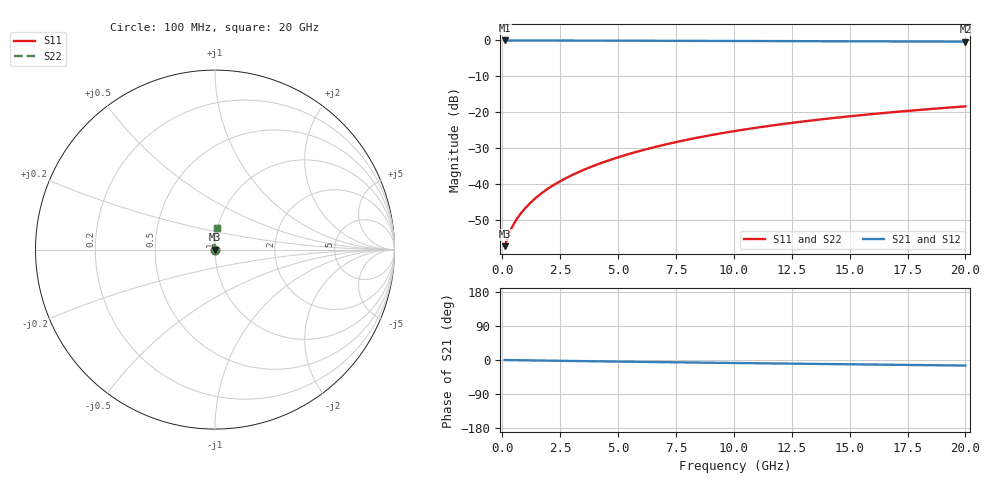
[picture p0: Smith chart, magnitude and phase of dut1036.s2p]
! Touchstone file exported from HFSS 2024.1.0
!  File:  C:/UserFiles/LocalFiles/RDL_TSV_Batchsim/temp_RDL_top_1036_1780043865.aedt
!  Generated:  04:40:12 PM May 29, 2026
!  Design:  RDL_top
!  Project:  temp_RDL_top_1036_1780043865
!  Setup:  Setup1
!  Solution:  Sweep
! Variables:
!  dtsv = 10.80580581um
!  hbump = 3um
!  htsv = 69.04um
!  ldown = 100um
!  lrdl = 218.17um
!  p = 40
!  p1 = 41.57um
!  rhole = 1um
!  t = 450um
!  tdown = 3.915915916um
!  trdl = 3.02um
!  wdown = 15.38538539um
!  wrdl = 27.32um
# GHz S MA R 50.000000
! Terminal data exported
! Port[1] = Box2_T1
! Port[2] = Box2_T2
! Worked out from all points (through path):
!   200 points, 100 MHz to 20 GHz, reference 50 ohm
!   highest |S21| = -0.01 dB at 100 MHz (marker M1); lowest = -0.3 dB at 20 GHz (marker M2)
!   group delay of S21, straight-line fit = 2 ps
!   lowest |S11| = -57.4 dB at 100 MHz (marker M3), VSWR 1.00, Z = 50.1 + j0.0543 ohm
!   |S11| at or under -10 dB: start of sweep to end of sweep
!   |S22| runs from -57.4 to -18.4 dB; largest |S21 - S12| = 6.1e-15
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0.1  0.001351 23.6  0.9988 -0.1  0.9988 -0.1  0.001351 23.6
! Gamma 0 0 0 0
! Port Impedance 50 0 50 0
0.3  0.002043 47.3  0.9986 -0.3  0.9986 -0.3  0.002043 47.3
0.4  0.00241 53.2  0.9985 -0.4  0.9985 -0.4  0.00241 53.2
0.5  0.002771 57.6  0.9984 -0.5  0.9984 -0.5  0.002771 57.6
0.6  0.003131 61.2  0.9983 -0.5  0.9983 -0.5  0.003131 61.2
0.8  0.003859 66.9  0.9982 -0.7  0.9982 -0.7  0.003859 66.9
1  0.00461 71.3  0.998 -0.9  0.998 -0.9  0.00461 71.3
1.2  0.005384 74.7  0.9978 -1.1  0.9978 -1.1  0.005384 74.7
1.7  0.007408 80.7  0.9974 -1.5  0.9974 -1.5  0.007408 80.7
2.2  0.009545 84.7  0.9968 -1.9  0.9968 -1.9  0.009545 84.7
2.8  0.01225 88.0  0.9959 -2.4  0.9959 -2.4  0.01225 88.0
3.5  0.01559 90.7  0.9947 -3.0  0.9947 -3.0  0.01559 90.7
4.2  0.01914 92.5  0.9934 -3.6  0.9934 -3.6  0.01914 92.5
5  0.02343 93.9  0.9917 -4.2  0.9917 -4.2  0.02343 93.9
5.9  0.02853 94.7  0.9897 -4.9  0.9897 -4.9  0.02854 94.7
6.8  0.03388 95.1  0.9876 -5.6  0.9876 -5.6  0.03388 95.1
8.4  0.04385 94.8  0.9839 -6.8  0.9839 -6.8  0.04386 94.8
10.1  0.05487 93.8  0.9802 -8.0  0.9802 -8.0  0.05488 93.8
11.7  0.06545 92.5  0.9769 -9.1  0.9769 -9.1  0.06546 92.5
13.4  0.07679 91.0  0.9736 -10.3  0.9736 -10.3  0.0768 91.0
16.7  0.09875 87.8  0.9678 -12.5  0.9678 -12.5  0.09876 87.8
20  0.1204 84.6  0.9625 -14.7  0.9625 -14.7  0.1204 84.6
